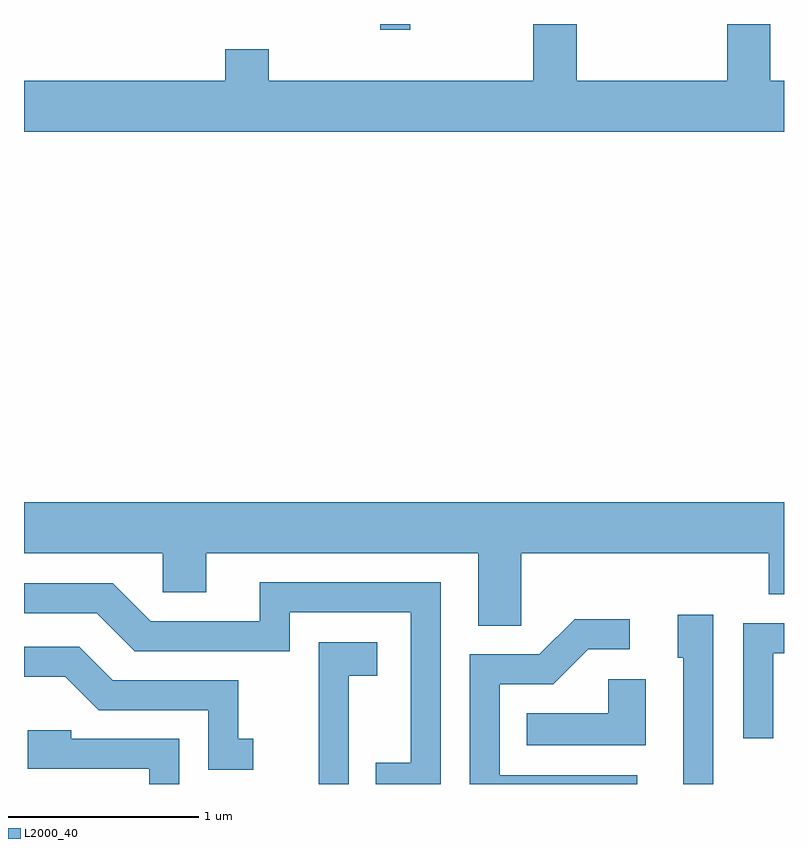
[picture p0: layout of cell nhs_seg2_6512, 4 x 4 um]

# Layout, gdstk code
import gdstk
lib = gdstk.Library(unit=1e-6, precision=1e-09)
def R(c, l, rs):  # rectangles x0, y0, x1, y1
    for r in rs: c.add(gdstk.rectangle(r[:2], r[2:], *l))
def P(c, l, *ps):  # polygons
    for p in ps: c.add(gdstk.Polygon(p, *l))
L2000_40 = (2000, 40)

nhs_seg2_6512 = lib.new_cell('nhs_seg2_6512')
R(nhs_seg2_6512, L2000_40, [(379.486,1017.773,379.644,1017.802)])
P(nhs_seg2_6512, L2000_40, [(378.671,1017.669),(378.671,1017.504),(377.611,1017.504),(377.611,1017.236),(381.611,1017.236),(381.611,1017.504),(381.539,1017.504),(381.539,1017.802),(381.311,1017.802),(381.311,1017.504),(380.519,1017.504),(380.519,1017.802),(380.291,1017.802),(380.291,1017.504),(378.899,1017.504),(378.899,1017.669)],
  [(380.229,1015.016),(381.531,1015.016),(381.531,1014.801),(381.611,1014.801),(381.611,1015.284),(377.611,1015.284),(377.611,1015.016),(378.341,1015.016),(378.341,1014.811),(378.569,1014.811),(378.569,1015.016),(380.001,1015.016),(380.001,1014.636),(380.229,1014.636)],
  [(379.804,1014.864),(378.851,1014.864),(378.851,1014.659),(378.277,1014.659),(378.077,1014.859),(377.611,1014.859),(377.611,1014.701),(377.994,1014.701),(378.194,1014.501),(379.009,1014.501),(379.009,1014.706),(379.646,1014.706),(379.646,1013.914),(379.463,1013.914),(379.463,1013.802),(379.804,1013.802)],
  [(381.239,1014.694),(381.051,1014.694),(381.051,1014.466),(381.081,1014.466),(381.081,1013.802),(381.239,1013.802)],
  [(380.838,1013.849),(380.114,1013.849),(380.114,1014.326),(380.397,1014.326),(380.582,1014.511),(380.798,1014.511),(380.798,1014.669),(380.509,1014.669),(380.324,1014.484),(379.956,1014.484),(379.956,1013.802),(380.838,1013.802)],
  [(381.554,1014.491),(381.611,1014.491),(381.611,1014.649),(381.396,1014.649),(381.396,1014.043),(381.554,1014.043)],
  [(379.319,1014.371),(379.469,1014.371),(379.469,1014.549),(379.161,1014.549),(379.161,1013.802),(379.319,1013.802)],
  [(378.818,1014.039),(378.739,1014.039),(378.739,1014.349),(378.077,1014.349),(377.902,1014.524),(377.611,1014.524),(377.611,1014.366),(377.829,1014.366),(378.004,1014.191),(378.581,1014.191),(378.581,1013.876),(378.818,1013.876)],
  [(380.884,1014.354),(380.686,1014.354),(380.686,1014.174),(380.258,1014.174),(380.258,1014.006),(380.884,1014.006)],
  [(378.429,1014.039),(377.859,1014.039),(377.859,1014.084),(377.631,1014.084),(377.631,1013.881),(378.271,1013.881),(378.271,1013.802),(378.429,1013.802)])

lib.write_gds('nhs_seg2_6512.gds')
